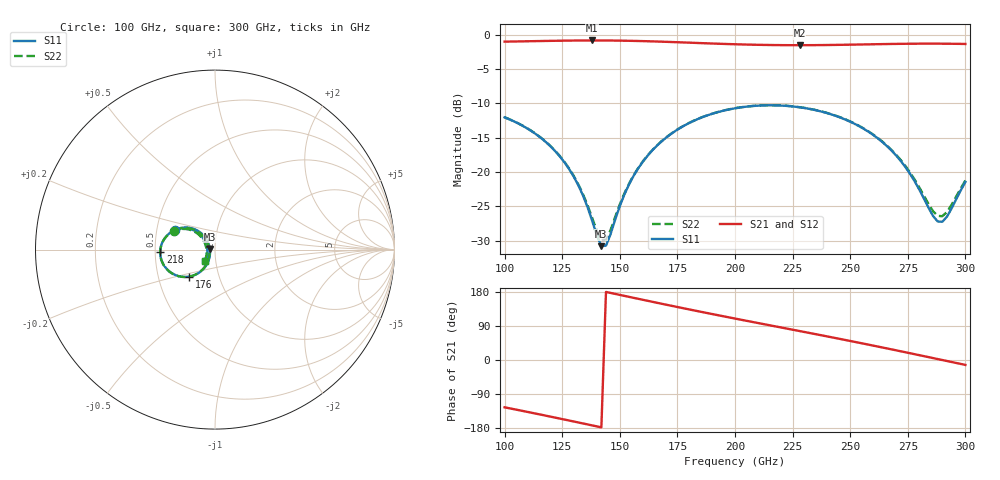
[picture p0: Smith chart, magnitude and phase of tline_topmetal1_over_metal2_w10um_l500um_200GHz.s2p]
#  GHZ S DB R 50
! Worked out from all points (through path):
!   101 points, 100 GHz to 300 GHz, reference 50 ohm
!   highest |S21| = -0.85 dB at 138 GHz (marker M1); lowest = -1.5 dB at 228 GHz (marker M2)
!   group delay of S21, straight-line fit = 3.42 ps
!   lowest |S11| = -30.8 dB at 142 GHz (marker M3), VSWR 1.06, Z = 47.2 + j0.327 ohm
!   |S11| at or under -10 dB: start of sweep to end of sweep
!   |S22| runs from -29.9 to -10.3 dB; largest |S21 - S12| = 9.7e-14
!   S11 on the Smith chart (normalised r, x): 100 GHz: 0.62, +0.14; 176 GHz: 0.72, -0.23; 218 GHz: 0.53, -0.01; 300 GHz: 0.89, -0.12
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100  -12.05 154.0  -1.02 -124.9  -1.02 -124.9  -12.04 154.9
120  -16.29 134.0  -0.91 -149.6  -0.91 -149.6  -16.25 135.4
128  -19.57 129.0  -0.87 -159.7  -0.87 -159.7  -19.49 131.0
134  -23.41 130.6  -0.85 -167.4  -0.85 -167.4  -23.22 133.3
138  -27.09 140.5  -0.85 -172.6  -0.85 -172.6  -26.68 143.8
142  -30.80 173.1  -0.85 -177.8  -0.85 -177.8  -29.91 174.6
144  -30.73 -161.6  -0.86 179.6  -0.86 179.6  -29.86 -162.8
152  -23.27 -120.8  -0.89 169.2  -0.89 169.2  -23.11 -122.7
156  -20.56 -119.0  -0.91 164.0  -0.91 164.0  -20.48 -120.3
168  -15.59 -126.1  -1.03 148.7  -1.03 148.7  -15.56 -126.5
176  -13.63 -133.7  -1.12 138.6  -1.12 138.6  -13.61 -133.8
188  -11.76 -146.1  -1.27 123.8  -1.27 123.8  -11.74 -146.0
200  -10.73 -158.8  -1.40 109.4  -1.40 109.4  -10.71 -158.5
218  -10.30 -177.7  -1.52 88.2  -1.52 88.2  -10.29 -177.1
228  -10.58 172.0  -1.54 76.4  -1.54 76.4  -10.56 172.8
234  -10.93 165.8  -1.53 69.4  -1.53 69.4  -10.91 166.8
252  -13.00 148.3  -1.45 47.8  -1.45 47.8  -12.96 149.6
268  -16.90 136.3  -1.36 28.0  -1.36 28.0  -16.81 138.3
276  -20.28 135.6  -1.33 17.8  -1.33 17.8  -20.09 138.3
288  -27.21 175.3  -1.32 2.5  -1.32 2.5  -26.40 176.6
292  -26.51 -155.3  -1.33 -2.7  -1.33 -2.7  -25.82 -156.7
300  -21.46 -130.0  -1.36 -13.0  -1.36 -13.0  -21.24 -131.7
